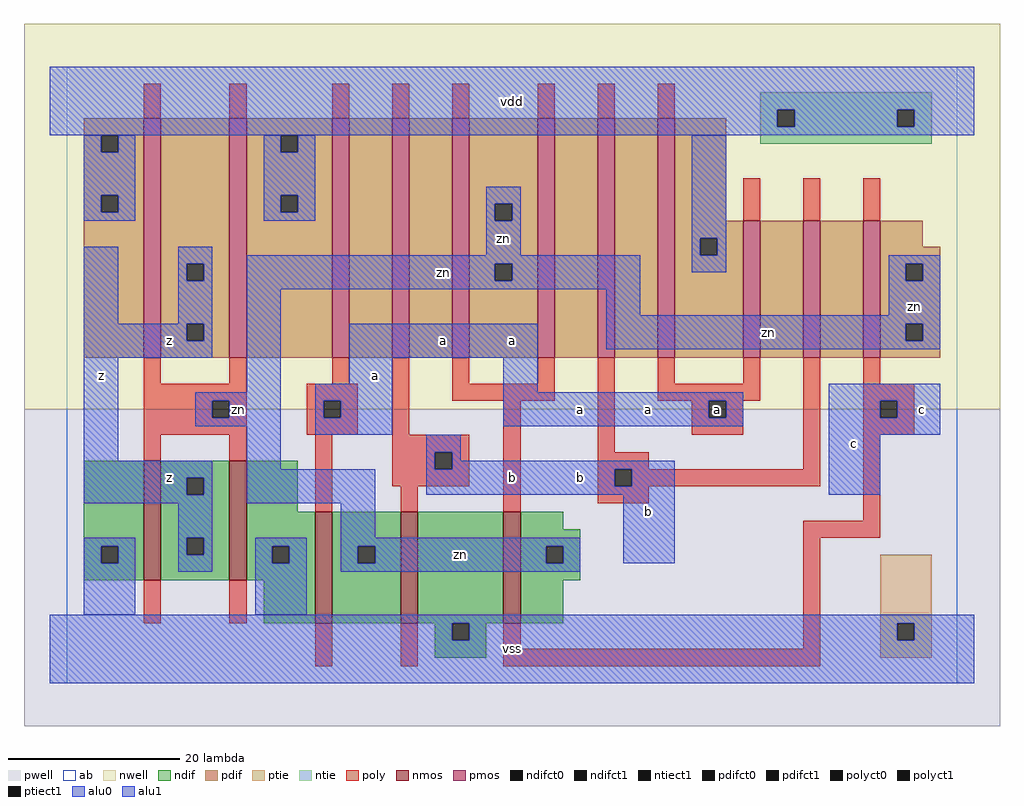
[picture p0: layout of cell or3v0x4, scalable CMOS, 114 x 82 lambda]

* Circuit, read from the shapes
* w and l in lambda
.subckt or3v0x4 a b c vdd vss z zn
M1 z zn vss vss nfet w=14 l=2 m=2
M2 zn a vss vss nfet w=13 l=2
M3 vss b zn vss nfet w=13 l=2
M4 zn c vss vss nfet w=13 l=2
M5 z zn vdd vdd pfet w=28 l=2 m=2
M6 n1 a vdd vdd pfet w=28 l=2
M7 n2 b n1 vdd pfet w=28 l=2
M8 zn c n2 vdd pfet w=28 l=2
M9 n3 c zn vdd pfet w=28 l=2
M10 n4 b n3 vdd pfet w=28 l=2
M11 vdd a n4 vdd pfet w=28 l=2
M12 n5 a vdd vdd pfet w=16 l=2
M13 n6 b n5 vdd pfet w=16 l=2
M14 zn c n6 vdd pfet w=16 l=2
.ends

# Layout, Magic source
magic
tech scmos
<< ab >>
rect 0 0 104 72
<< nwell >>
rect -5 32 109 77
<< pwell >>
rect -5 -5 109 32
<< poly >>
rect 9 66 11 70
rect 19 66 21 70
rect 31 66 33 70
rect 38 66 40 70
rect 45 66 47 70
rect 55 66 57 70
rect 62 66 64 70
rect 69 66 71 70
rect 79 54 81 59
rect 86 54 88 59
rect 93 54 95 59
rect 9 35 11 38
rect 19 35 21 38
rect 31 35 33 38
rect 9 33 21 35
rect 9 31 17 33
rect 19 31 21 33
rect 9 29 21 31
rect 28 33 34 35
rect 28 31 30 33
rect 32 31 34 33
rect 28 29 34 31
rect 38 29 40 38
rect 45 35 47 38
rect 55 35 57 38
rect 45 33 57 35
rect 9 26 11 29
rect 19 26 21 29
rect 29 20 31 29
rect 38 27 47 29
rect 38 25 43 27
rect 45 25 47 27
rect 38 23 47 25
rect 39 20 41 23
rect 51 20 53 33
rect 62 27 64 38
rect 69 35 71 38
rect 79 35 81 38
rect 69 33 81 35
rect 73 31 75 33
rect 77 31 79 33
rect 73 29 79 31
rect 62 25 68 27
rect 86 25 88 38
rect 62 23 64 25
rect 66 23 88 25
rect 93 35 95 38
rect 93 33 99 35
rect 93 31 95 33
rect 97 31 99 33
rect 93 29 99 31
rect 62 21 68 23
rect 9 7 11 12
rect 19 7 21 12
rect 93 19 95 29
rect 86 17 95 19
rect 29 2 31 7
rect 39 2 41 7
rect 51 4 53 7
rect 86 4 88 17
rect 51 2 88 4
<< ndif >>
rect 2 16 9 26
rect 2 14 4 16
rect 6 14 9 16
rect 2 12 9 14
rect 11 24 19 26
rect 11 22 14 24
rect 16 22 19 24
rect 11 17 19 22
rect 11 15 14 17
rect 16 15 19 17
rect 11 12 19 15
rect 21 20 27 26
rect 21 16 29 20
rect 21 14 24 16
rect 26 14 29 16
rect 21 12 29 14
rect 23 7 29 12
rect 31 16 39 20
rect 31 14 34 16
rect 36 14 39 16
rect 31 7 39 14
rect 41 7 51 20
rect 53 18 58 20
rect 53 16 60 18
rect 53 14 56 16
rect 58 14 60 16
rect 53 12 60 14
rect 53 7 58 12
rect 43 5 45 7
rect 47 5 49 7
rect 43 3 49 5
<< pdif >>
rect 2 64 9 66
rect 2 62 4 64
rect 6 62 9 64
rect 2 57 9 62
rect 2 55 4 57
rect 6 55 9 57
rect 2 38 9 55
rect 11 49 19 66
rect 11 47 14 49
rect 16 47 19 49
rect 11 42 19 47
rect 11 40 14 42
rect 16 40 19 42
rect 11 38 19 40
rect 21 64 31 66
rect 21 62 25 64
rect 27 62 31 64
rect 21 57 31 62
rect 21 55 25 57
rect 27 55 31 57
rect 21 38 31 55
rect 33 38 38 66
rect 40 38 45 66
rect 47 56 55 66
rect 47 54 50 56
rect 52 54 55 56
rect 47 49 55 54
rect 47 47 50 49
rect 52 47 55 49
rect 47 38 55 47
rect 57 38 62 66
rect 64 38 69 66
rect 71 54 77 66
rect 71 52 79 54
rect 71 50 74 52
rect 76 50 79 52
rect 71 38 79 50
rect 81 38 86 54
rect 88 38 93 54
rect 95 51 100 54
rect 95 49 102 51
rect 95 47 98 49
rect 100 47 102 49
rect 95 42 102 47
rect 95 40 98 42
rect 100 40 102 42
rect 95 38 102 40
<< alu1 >>
rect -2 67 106 72
rect -2 65 83 67
rect 85 65 97 67
rect 99 65 106 67
rect -2 64 106 65
rect 2 42 6 51
rect 13 49 17 51
rect 13 47 14 49
rect 16 47 17 49
rect 13 42 17 47
rect 2 40 14 42
rect 16 40 17 42
rect 2 38 17 40
rect 2 26 6 38
rect 33 38 55 42
rect 33 35 38 38
rect 2 24 17 26
rect 2 22 14 24
rect 16 22 17 24
rect 2 21 17 22
rect 29 33 38 35
rect 29 31 30 33
rect 32 31 38 33
rect 29 29 38 31
rect 51 34 55 38
rect 51 33 79 34
rect 51 31 75 33
rect 77 31 79 33
rect 51 30 79 31
rect 89 33 102 35
rect 89 31 95 33
rect 97 31 102 33
rect 89 29 102 31
rect 42 27 46 29
rect 42 25 43 27
rect 45 26 46 27
rect 45 25 71 26
rect 42 23 64 25
rect 66 23 71 25
rect 42 22 71 23
rect 89 22 95 29
rect 13 17 17 21
rect 13 15 14 17
rect 16 15 17 17
rect 13 13 17 15
rect 65 14 71 22
rect -2 7 106 8
rect -2 5 45 7
rect 47 5 97 7
rect 99 5 106 7
rect -2 0 106 5
<< ptie >>
rect 95 7 101 15
rect 95 5 97 7
rect 99 5 101 7
rect 95 3 101 5
<< ntie >>
rect 81 67 101 69
rect 81 65 83 67
rect 85 65 97 67
rect 99 65 101 67
rect 81 63 101 65
<< nmos >>
rect 9 12 11 26
rect 19 12 21 26
rect 29 7 31 20
rect 39 7 41 20
rect 51 7 53 20
<< pmos >>
rect 9 38 11 66
rect 19 38 21 66
rect 31 38 33 66
rect 38 38 40 66
rect 45 38 47 66
rect 55 38 57 66
rect 62 38 64 66
rect 69 38 71 66
rect 79 38 81 54
rect 86 38 88 54
rect 93 38 95 54
<< polyct0 >>
rect 17 31 19 33
<< polyct1 >>
rect 30 31 32 33
rect 43 25 45 27
rect 75 31 77 33
rect 64 23 66 25
rect 95 31 97 33
<< ndifct0 >>
rect 4 14 6 16
rect 24 14 26 16
rect 34 14 36 16
rect 56 14 58 16
<< ndifct1 >>
rect 14 22 16 24
rect 14 15 16 17
rect 45 5 47 7
<< ntiect1 >>
rect 83 65 85 67
rect 97 65 99 67
<< ptiect1 >>
rect 97 5 99 7
<< pdifct0 >>
rect 4 62 6 64
rect 4 55 6 57
rect 25 62 27 64
rect 25 55 27 57
rect 50 54 52 56
rect 50 47 52 49
rect 74 50 76 52
rect 98 47 100 49
rect 98 40 100 42
<< pdifct1 >>
rect 14 47 16 49
rect 14 40 16 42
<< alu0 >>
rect 2 62 4 64
rect 6 62 8 64
rect 2 57 8 62
rect 2 55 4 57
rect 6 55 8 57
rect 2 54 8 55
rect 23 62 25 64
rect 27 62 29 64
rect 23 57 29 62
rect 23 55 25 57
rect 27 55 29 57
rect 23 54 29 55
rect 49 56 53 58
rect 49 54 50 56
rect 52 54 53 56
rect 49 50 53 54
rect 73 52 77 64
rect 73 50 74 52
rect 76 50 77 52
rect 21 49 67 50
rect 21 47 50 49
rect 52 47 67 49
rect 73 48 77 50
rect 96 49 102 50
rect 21 46 67 47
rect 21 34 25 46
rect 63 43 67 46
rect 96 47 98 49
rect 100 47 102 49
rect 96 43 102 47
rect 63 42 102 43
rect 63 40 98 42
rect 100 40 102 42
rect 63 39 102 40
rect 15 33 25 34
rect 15 31 17 33
rect 19 31 25 33
rect 15 30 25 31
rect 21 25 25 30
rect 21 21 36 25
rect 32 17 36 21
rect 2 16 8 17
rect 2 14 4 16
rect 6 14 8 16
rect 2 8 8 14
rect 22 16 28 17
rect 22 14 24 16
rect 26 14 28 16
rect 22 8 28 14
rect 32 16 60 17
rect 32 14 34 16
rect 36 14 56 16
rect 58 14 60 16
rect 32 13 60 14
<< labels >>
rlabel alu0 20 32 20 32 6 zn
rlabel alu0 46 15 46 15 6 zn
rlabel alu0 44 48 44 48 6 zn
rlabel alu0 51 52 51 52 6 zn
rlabel alu0 82 41 82 41 6 zn
rlabel alu0 99 44 99 44 6 zn
rlabel alu1 12 24 12 24 6 z
rlabel alu1 12 40 12 40 6 z
rlabel alu1 4 36 4 36 6 z
rlabel alu1 36 36 36 36 6 a
rlabel alu1 44 40 44 40 6 a
rlabel alu1 52 4 52 4 6 vss
rlabel alu1 68 20 68 20 6 b
rlabel alu1 52 24 52 24 6 b
rlabel polyct1 76 32 76 32 6 a
rlabel alu1 68 32 68 32 6 a
rlabel alu1 60 32 60 32 6 a
rlabel alu1 60 24 60 24 6 b
rlabel alu1 52 40 52 40 6 a
rlabel alu1 52 68 52 68 6 vdd
rlabel alu1 92 28 92 28 6 c
rlabel alu1 100 32 100 32 6 c
<< end >>
